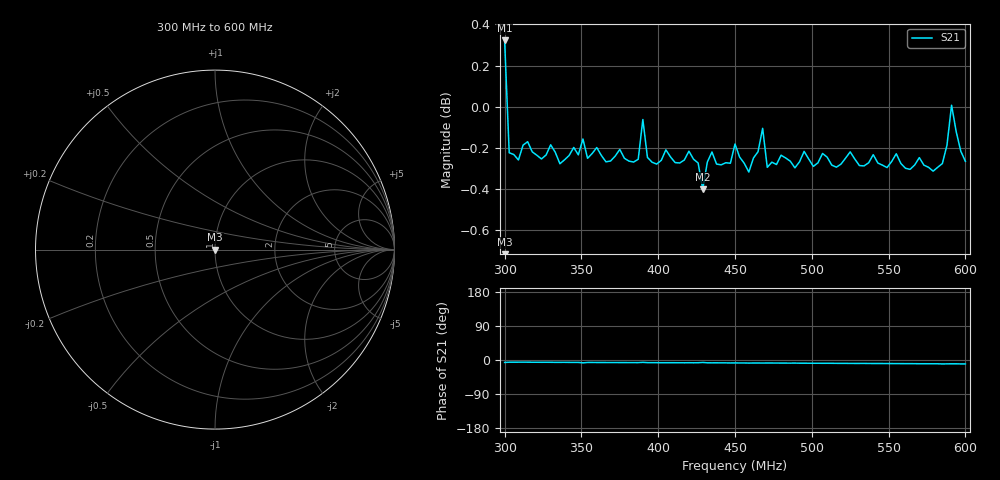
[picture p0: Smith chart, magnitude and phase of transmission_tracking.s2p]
! Created with skrf 1.8.0 (http://scikit-rf.org).
# Hz S RI R 50.0
!freq ReS11 ImS11 ReS21 ImS21 ReS12 ImS12 ReS22 ImS22
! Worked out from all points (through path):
!   101 points, 300 MHz to 600 MHz, reference 50 ohm
!   highest |S21| = 0.32 dB at 300 MHz (marker M1); lowest = -0.4 dB at 429 MHz (marker M2)
!   group delay of S21, straight-line fit = 41.8 ps
!   lowest |S11| = - dB at 300 MHz (marker M3), VSWR 1.00, Z = 50 + j0 ohm
!   |S11| at or under -10 dB: start of sweep to end of sweep
!   S12 and S22 are empty: the file has one direction only
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3e8  0 0  1.031 -0.1168  0 0  0 0
3.03e8  0 0  0.9696 -0.0987  0 0  0 0
3.48e8  0 0  0.9675 -0.1076  0 0  0 0
3.51e8  0 0  0.9738 -0.1274  0 0  0 0
3.54e8  0 0  0.9653 -0.1099  0 0  0 0
3.84e8  0 0  0.9626 -0.1158  0 0  0 0
3.87e8  0 0  0.964 -0.117  0 0  0 0
3.9e8  0 0  0.9871 -0.1073  0 0  0 0
3.93e8  0 0  0.9648 -0.118  0 0  0 0
4.02e8  0 0  0.9629 -0.121  0 0  0 0
4.2e8  0 0  0.9678 -0.1215  0 0  0 0
4.29e8  0 0  0.9488 -0.1079  0 0  0 0
4.32e8  0 0  0.9615 -0.1248  0 0  0 0
4.5e8  0 0  0.9708 -0.1293  0 0  0 0
4.59e8  0 0  0.9545 -0.1362  0 0  0 0
4.68e8  0 0  0.9782 -0.1384  0 0  0 0
4.71e8  0 0  0.9575 -0.1323  0 0  0 0
5.01e8  0 0  0.9564 -0.1439  0 0  0 0
5.52e8  0 0  0.9568 -0.1587  0 0  0 0
5.85e8  0 0  0.9527 -0.1753  0 0  0 0
5.91e8  0 0  0.9857 -0.1736  0 0  0 0
6e8  0 0  0.9539 -0.1752  0 0  0 0
